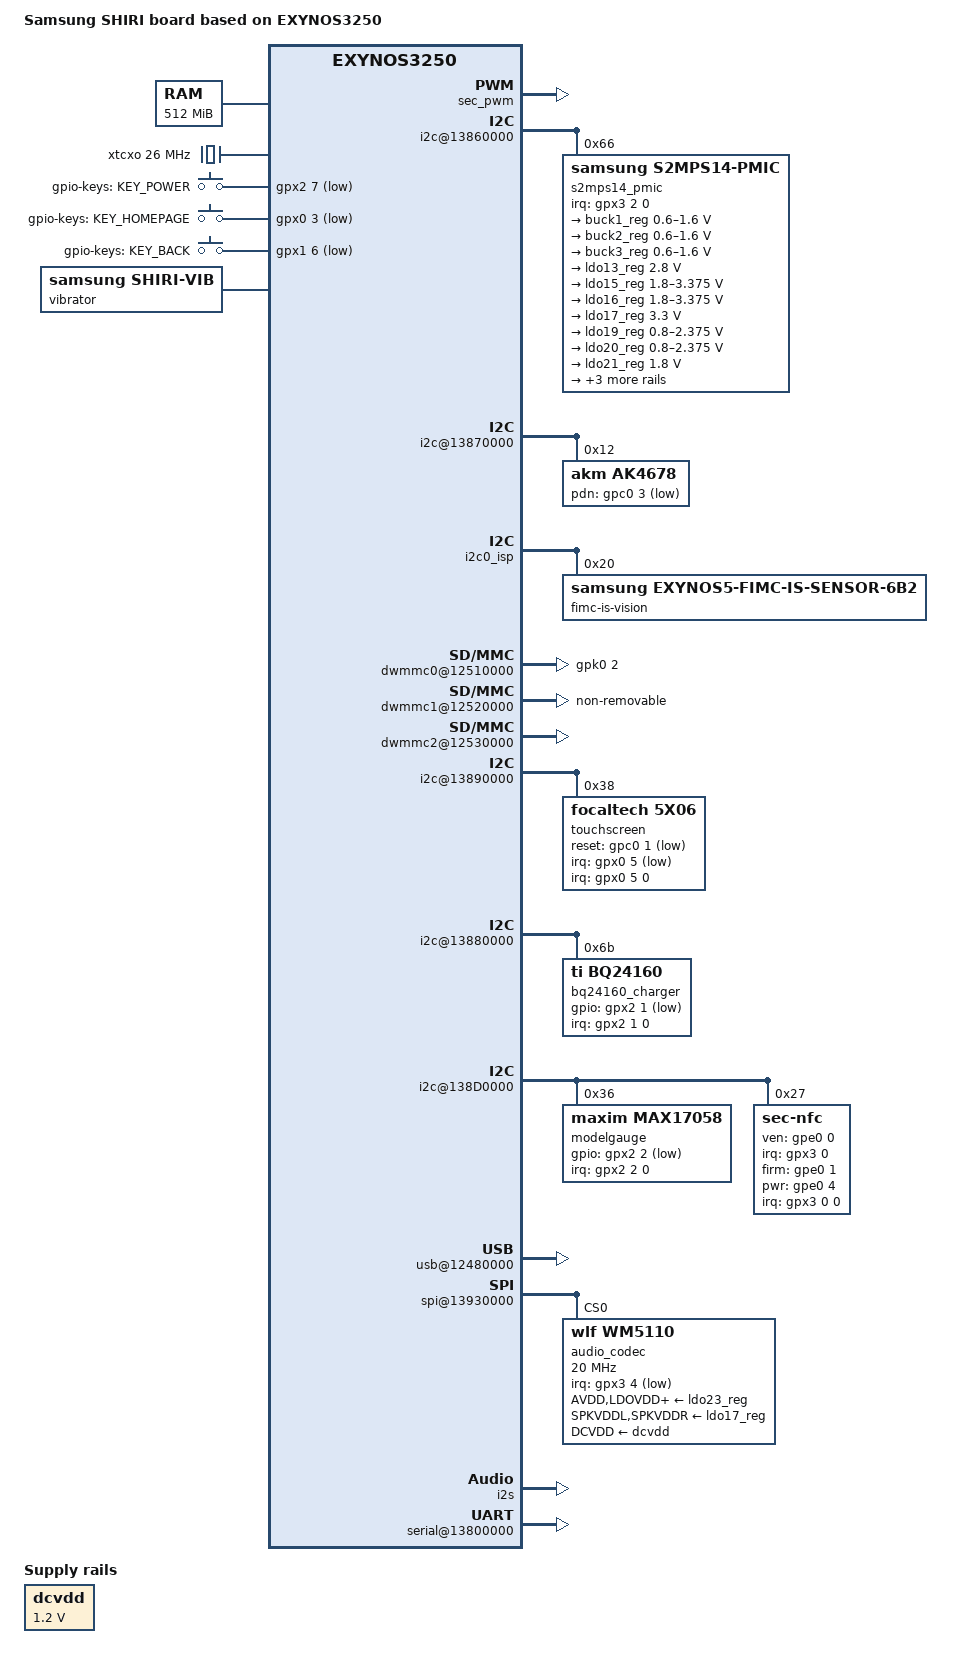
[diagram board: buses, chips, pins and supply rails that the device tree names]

/*
 * SAMSUNG SHIRI board device tree source
 *
 * Copyright (c) 2014 Samsung Electronics Co., Ltd.
 *		http://www.samsung.com
 *
 * This program is free software; you can redistribute it and/or modify
 * it under the terms of the GNU General Public License version 2 as
 * published by the Free Software Foundation.
*/

/dts-v1/;
#include "exynos3250.dtsi"
#include "exynos3250-shiri-pd_gpio.dtsi"

/ {
	model = "Samsung SHIRI board based on EXYNOS3250";
	compatible = "samsung,SHIRI", "samsung,exynos3250";

	chosen {
		//-------------------
		// for shiri
		//-------------------
//		bootargs = "console=ttySAC2,115200 vmalloc=256M ess_setup=0x46000000";
		//-------------------
		// for ramdisk
		//-------------------
//		bootargs = "root=/dev/ram0 rw rootfstype=ext2 initrd=0x41000000,32M console=ttySAC2,115200 vmalloc=256M ess_setup=0x46000000";
		//-------------------
		// for rootfs (sd)
		//-------------------
		bootargs = "root=/dev/mmcblk1p1 rootdelay=2 console=ttySAC2,115200 vmalloc=256M ess_setup=0x46000000";
		//-------------------
		// for rootfs (eMMC)
		//-------------------
//		bootargs = "root=/dev/mmcblk0p1 rootdelay=2 console=ttySAC2,115200 vmalloc=256M ess_setup=0x46000000";
	};

	memory {
		reg = <0x40000000 0x20000000>;
	};

	fixed-rate-clocks {
		#address-cells = <1>;
		#size-cells = <0>;

		xrtcxti: clock@0 {
			compatible = "fixed-clock";
			reg = <0>;
			clock-frequency = <32768>;
			#clock-cells = <0>;
			clock-output-names = "xrtcxti";
		};

		xusbxti: clock@1 {
			compatible = "fixed-clock";
			clock-frequency = <24000000>;
			reg = <1>;
			#clock-cells = <0>;
			clock-output-names = "xusbxti";
		};

		xxti: clock@2 {
			compatible = "fixed-clock";
			reg = <2>;
			clock-frequency = <0>;
			#clock-cells = <0>;
			clock-output-names = "xxti";
			};

		xtcxo: clock@3 {
			compatible = "fixed-clock";
			reg = <3>;
			clock-frequency = <26000000>;
			#clock-cells = <0>;
			clock-output-names = "xtcxo";
		};
		audiocdclk: clock@4 {
			compatible = "fixed-clock";
			reg = <4>;
			clock-frequency = <0>;
			#clock-cells = <0>;
			clock-output-names = "audiocdclk";
		};
	};

	gpio_keys {
		compatible = "gpio-keys";
		#address-cells = <1>;
		#size-cells = <0>;
		pinctrl-names = "default";
		pinctrl-0 = <&eint23 &eint3 &eint14>;

		button@1 {
			label = "gpio-keys: KEY_POWER";
			interrupt-parent = <&gpx2>;
			interrupts = <7 0 0>;
			linux,code = <116>;
			gpios = <&gpx2 7 0x1>;
			gpio-key,wakeup = <1>;
			debounce-interval = <0>;
		};

		button@2 {
			label = "gpio-keys: KEY_HOMEPAGE";
			interrupt-parent = <&gpx0>;
			interrupts = <3 0 0>;
			linux,code = <172>;
			gpios = <&gpx0 3 0x1>;
			debounce-interval = <0>;
		};

		button@3 {
			label = "gpio-keys: KEY_BACK";
			interrupt-parent = <&gpx1>;
			interrupts = <6 0 0>;
			linux,code = <158>;
			gpios = <&gpx1 6 0x1>;
			debounce-interval = <0>;
		};
	};

	sec_pwm: pwm@139D0000 {
		status = "okay";
	};

	vibrator {
		compatible = "samsung,shiri-vib";
		pinctrl-names = "default";
		pinctrl-0 = <&pwm1_out>;
		samsung,pwm-ch = <1>;
		samsung,max-timeout = <100000>;
	};

	i2c@13860000 {
		status = "okay";
		samsung,i2c-sda-delay = <100>;
		samsung,i2c-max-bus-freq = <400000>;
		#size-cells = <0>;

		s2mps14_pmic@66 {
			compatible = "samsung,s2mps14-pmic";
			reg = <0x66>;
			interrupts = <2 0 0>;
			/* old; interrupt-parent = <&gpx0>; */
			interrupt-parent = <&gpx3>; // nermy.artik
			pinctrl-names = "default";
			pinctrl-0 = <&pmic_irq &pm_wrsti>;
			/* RTC: wtsr/smpl */
                        wtsr_en = <1>; /* enable */
                        smpl_en = <1>; /* enable */
                        wtsr_timer_val = <3>;   /* 1000ms */
                        smpl_timer_val = <4>;   /* 500ms */
                        check_jigon = <0>; /* do not check jigon */
                        /* RTC: If it's first boot, reset rtc to 1/1/2014 12:00:00(Wed) */
                        init_time,sec = <0>;
                        init_time,min = <0>;
                        init_time,hour = <12>;
                        init_time,mday = <1>;
                        init_time,mon = <0>;
                        init_time,year = <114>;
                        init_time,wday = <3>;

			regulators {
				buck1_reg: BUCK1 {
					regulator-name = "vdd_mif";
					regulator-min-microvolt = <600000>;
					regulator-max-microvolt = <1600000>;
					regulator-always-on;
					regulator-boot-on;
					regulator-ramp-delay = <12000>;
					regulator-initial-mode = <1>;
				};

				buck2_reg: BUCK2 {
					regulator-name = "vdd_arm";
					regulator-min-microvolt = <600000>;
					regulator-max-microvolt = <1600000>;
					regulator-always-on;
					regulator-boot-on;
					regulator-ramp-delay = <12000>;
					regulator-initial-mode = <1>;
				};

				buck3_reg: BUCK3 {
					regulator-name = "vdd_int";
					regulator-min-microvolt = <600000>;
					regulator-max-microvolt = <1600000>;
					regulator-always-on;
					regulator-boot-on;
					regulator-ramp-delay = <12000>;
					regulator-initial-mode = <1>;
				};

				ldo13_reg: LDO13 {
					regulator-name = "vt_cam_sensor_a2v8";
					regulator-min-microvolt = <2800000>;
					regulator-max-microvolt = <2800000>;
					regulator-initial-mode = <1>;
				};

				ldo15_reg: LDO15 {
					regulator-name = "vdd_tsp_3.3";
					regulator-min-microvolt = <1800000>;
					regulator-max-microvolt = <3375000>;
					regulator-initial-mode = <1>;
				};

				ldo16_reg: LDO16 {
					regulator-name = "vdd_lcd_3.3";
					regulator-min-microvolt = <1800000>;
					regulator-max-microvolt = <3375000>;
					regulator-initial-mode = <1>;
				};

				ldo17_reg: LDO17 {
					regulator-name = "vcc_peri_3.3";
					regulator-min-microvolt = <3300000>;
					regulator-max-microvolt = <3300000>;
				};

				ldo19_reg: LDO19 {
					regulator-name = "vdd_tsp_1.8";
					regulator-min-microvolt = <800000>;
					regulator-max-microvolt = <2375000>;
					regulator-initial-mode = <3>;
					regulator-always-on;
					regulator-boot-on;
				};

				ldo20_reg: LDO20 {
					regulator-name = "vcc_aud_1.8";
					regulator-min-microvolt = <800000>;
					regulator-max-microvolt = <2375000>;
					regulator-initial-mode = <1>;
					regulator-always-on;
					regulator-boot-on;
				};

				ldo21_reg: LDO21 {
					regulator-name = "vt_cam_core_1v8";
					regulator-min-microvolt = <1800000>;
					regulator-max-microvolt = <1800000>;
					regulator-initial-mode = <1>;
				};

				ldo6_reg: LDO6 {
                                        regulator-name = "VDD_USB_AP_1.0V";
                                        regulator-min-microvolt = <1000000>;
                                        regulator-max-microvolt = <1000000>;
                                        regulator-always-on;
					regulator-initial-mode = <1>;
                                };

				ldo8_reg: LDO8 {
                                        regulator-name = "VDD_UOTG_AP_3.3V";
                                        regulator-min-microvolt = <3300000>;
                                        regulator-max-microvolt = <3300000>;
                                };

				ldo23_reg: LDO23 {
					regulator-name = "vcc_peri_1.8";
					regulator-min-microvolt = <1800000>;
					regulator-max-microvolt = <1800000>;
					regulator-always-on;
				};

				ldo2_reg: LDO2 {
					regulator-always-on;
					regulator-initial-mode = <1>;
                                };

				ldo4_reg: LDO4 {
					regulator-always-on;
                                        regulator-initial-mode = <1>;
                                };

				ldo5_reg: LDO5 {
					regulator-always-on;
                                        regulator-initial-mode = <1>;
                                };

				ldo7_reg: LDO7 {
					regulator-always-on;
                                        regulator-initial-mode = <1>;
                                };
			};
		};
	};

	i2c@13870000 {
		status = "okay";
		samsung,i2c-sda-delay = <100>;
		samsung,i2c-max-bus-freq = <400000>;
		#size-cells = <0>;

		ak4678@12{
			compatible = "akm,ak4678";
			reg = <0x12>;
			ak4678,pdn-gpio = <&gpc0 3 0x1>;
		};
	};

	dcvdd: fixed-regulator@0 {
		compatible = "regulator-fixed";
		regulator-name = "dcvdd-supply";
		regulator-min-microvolt = <1200000>;
		regulator-max-microvolt = <1200000>;
	};

	i2c0_isp: i2c@12130000 {
		status = "okay";
		samsung,i2c-sda-delay = <100>;
		samsung,i2c-max-bus-freq = <400000>;

		fimc-is-vision@20 {
			compatible = "samsung,exynos5-fimc-is-sensor-6b2";
			reg = <0x20>;
		};
	};

	dwmmc0@12510000 {
		status = "okay";
		num-slots = <1>;
		broken-cd;
		bypass-smu;
		fixed_volt;
		only_once_tune;
		extra_tuning;
		supports-highspeed;
		enable-cache-control;
		sw_data_timeout;
		fifo-depth = <0x80>;
		card-detect-delay = <200>;
		samsung,dw-mshc-ciu-div = <3>;
		samsung,dw-mshc-sdr-timing = <3 0 2 1>;
		samsung,dw-mshc-ddr-timing = <3 0 4 2>;
		samsung,dw-mshc-hs200-timing = <3 0 2 0>;
		samsung,dw-mshc-ddr200-timing = <1 1 2 0>;
		num-ref-clks = <8>;
		gpios = <&gpk0 2 0x1>;
		ciu_clkin = <25 50 50 100 200 100 200 200>;
		pinctrl-names = "default";
		pinctrl-0 = <&sd0_clk &sd0_cmd &sd0_bus1 &sd0_bus4 &sd0_bus8>;

		slot@0 {
			reg = <0>;
			bus-width = <8>;
		};
	};

	dwmmc1@12520000 {
		status = "okay";
		num-slots = <1>;
		bypass-smu;
		only_once_tune;
		supports-highspeed;
		supports-sdr104-mode;
		sw_data_timeout;
		use-broken-voltage;
		pm-ignore-notify;
		fixed_volt;
		/* cd-type = <2>;  mediatek driver*/
		cd-type = <1>; // nermy.artik
		fifo-depth = <0x80>;
		card-detect-delay = <200>;
		non-removable;
		enable-cclk-on-suspend;
		keep-power-in-suspend;
		enable-sdio-wakeup;
		samsung,dw-mshc-ciu-div = <3>;
		samsung,dw-mshc-sdr-timing = <3 0 2 1>;
		samsung,dw-mshc-ddr-timing = <3 0 4 2>;
		clk_str_num = <4>;
		num-ref-clks = <8>;
		ciu_clkin = <25 50 50 100 200 100 200 200>;
		pinctrl-names = "default";
		pinctrl-0 = <&sd1_clk &sd1_cmd &sd1_bus1 &sd1_bus4>;

		slot@0 {
			reg = <0>;
			bus-width = <4>;
			disable-wp;
		};

	};

	dwmmc2@12530000 {
		status = "okay";
		num-slots = <1>;
		bypass-smu;
		supports-highspeed;
		fixed_volt;
		cd-type = <1>;
		fifo-depth = <0x80>;
		card-detect-delay = <200>;
		samsung,dw-mshc-ciu-div = <3>;
		samsung,dw-mshc-sdr-timing = <3 0 2 1>;
		samsung,dw-mshc-ddr-timing = <3 0 4 2>;
		num-ref-clks = <8>;
		ciu_clkin = <25 50 50 100 200 100 200 200>;
		pinctrl-names = "default";
		pinctrl-0 = <&sd2_clk &sd2_cmd &sd2_cd &sd2_bus1 &sd2_bus4>;

		slot@0 {
			reg = <0>;
			bus-width = <4>;
			disable-wp;
		};
	};

        ion {
                compatible = "samsung,exynos5430-ion";

		contig-names = "mfc_sh",
				"video",
				"mfc_fw",
				"mfc_nfw";

		contig = <2 0x100000 0x0>,
			<11 0xA00000 0x0>,
			<8 0x100000 0x0>,
			<12 0x100000 0x0>;

                ion_noncontig_heap {
                        id-type = <0 0>;
                };

		exynos_contig_heap {
			id-type = <4 6>;
		};

        };

	i2c@13890000 {
		samsung,i2c-sda-delay = <100>;
		samsung,i2c-max-bus-freq = <400000>;
		#size-cells = <0>;
		status = "okay";

		touchscreen@38 {
			compatible = "focaltech,5x06";
			reg = <0x38>;
			interrupt-parent = <&gpx0>;
			interrupts = <5 0 0>;
			pinctrl-names = "default";
			pinctrl-0 = <&touch_irq>;
			focaltech,name = "ft5336";
			focaltech,family-id = <0x14>;
			focaltech,reset-gpio = <&gpc0 1 0x1>;
			focaltech,irq-gpio = <&gpx0 5 0x1>;
			focaltech,display-coords = <0 0 240 240>;
			focaltech,panel-coords = <0 0 240 240>;
			focaltech,button-map= <139 102 158>;
			focaltech,no-force-update;
			focaltech,i2c-pull-up;
			focaltech,group-id = <1>;
			focaltech,hard-reset-delay-ms = <20>;
			focaltech,soft-reset-delay-ms = <200>;
			focaltech,num-max-touches = <5>;
			#focaltech,fw-name = "ft_8926_qrd_fw.bin";
			focaltech,fw-delay-aa-ms = <30>;
			focaltech,fw-delay-55-ms = <30>;
			#focaltech,fw-upgrade-id1 = <0x79>;
			#focaltech,fw-upgrade-id2 = <0x08>;
			focaltech,fw-delay-readid-ms = <10>;
			focaltech,fw-delay-era-flsh-ms = <2000>;
			focaltech,fw-auto-cal;
			focaltech,ignore-id-check;
		};
	};

	i2c@13880000 {
		samsung,i2c-sda-delay = <100>;
		samsung,i2c-max-bus-freq = <400000>;
		#address-cells = <1>;
		#size-cells = <0>;
		status = "okay";

		bq24160_charger@6b {
			compatible = "ti,bq24160";
			reg = <0x6b>;
			gpios = <&gpx2 1 1>;
			interrupts = <1 0 0>;
			interrupt-parent = <&gpx2>;
			pinctrl-names = "default";
			pinctrl-0 = <&chg_irq>;
			dev_name = "bq24160";
			support_boot_charging = <1>;
		};
	};

	i2c@138D0000 {
		samsung,i2c-sda-delay = <25>;
		samsung,i2c-max-bus-freq = <400000>;
		#address-cells = <1>;
		#size-cells = <0>;
		status = "okay";

		modelgauge@36 { 
			compatible = "maxim,max17058"; 

			reg = <0x36>; 
			gpios = <&gpx2 2 1>;
			interrupt-parent = <&gpx2>;
			interrupts = <2 0 0>;
			pinctrl-names = "default";
			pinctrl-0 = <&gauge_irq>;

			maxim,empty_adjustment = /bits/ 8 <0>;
			maxim,full_adjustment = /bits/ 8 <100>;
			maxim,rcomp0 = /bits/ 8 <175>; 
			maxim,temp-co-up = <(-1100)>; 
			maxim,temp-co-down = <(-4000)>; 
			maxim,ocvtest = /bits/ 16 <56144>; 
			maxim,soc-check-a = /bits/ 8 <241>; 
			maxim,soc-check-b = /bits/ 8 <243>; 
			maxim,bits = /bits/ 8 <19>; 

			maxim,model-data = /bits/ 8 < 
				0x9B 0x70 0xAB 0x30 0xB5 0xA0 0xB9 0xD0 
				0xBB 0xA0 0xBC 0x00 0xBC 0xB0 0xBD 0x00 
				0xBD 0x60 0xBE 0x40 0xBF 0x40 0xC1 0xF0 
				0xC5 0x60 0xC8 0xA0 0xCD 0x00 0xD1 0x50 
				0x00 0xE0 0x01 0x80 0x18 0x60 0x1C 0x20 
				0x54 0x00 0x6A 0xC0 0x79 0x20 0x65 0xC0 
				0x0B 0xE0 0x2A 0xC0 0x1D 0x00 0x17 0xE0 
				0x15 0xE0 0x11 0xE0 0x11 0x00 0x11 0x00	>; 
		};


		sec-nfc@27 {
			compatible = "sec-nfc";
			reg = <0x27>;
			interrupts = <0 0 0>;
			interrupt-parent = <&gpx3>;
			sec-nfc,ven-gpio = <&gpe0 0 0>;
			sec-nfc,irq-gpio = <&gpx3 0 0>;
			sec-nfc,firm-gpio = <&gpe0 1 0>;
			sec-nfc,pwr-gpio = <&gpe0 4 0>;
		};
	};


	sysreg_localout: sysreg_localout@10010000 {
		compatible = "samsung,exynos5-sysreg_localout";
		reg = <0x10010000 0x2000>;
	};

	mdev_0: mdev_output {
		compatible = "samsung,exynos5-mdev";
	};

	 fimd_fb: fimd_fb {
                /* gpx0[6]- TE external interrupt pin */
                gpios = <&gpx0 4 0xf>;
		lcd-3.0-supply = <&ldo16_reg>;
		lcd-1.8-supply = <&ldo19_reg>;
                fimd: fimd_ctrl {
                        samsung,left_margin = <1>;
                        samsung,right_margin = <1>;
                        samsung,upper_margin = <1>;
                        samsung,lower_margin = <1>;
                        samsung,hsync_len = <1>;
                        samsung,vsync_len = <1>;
                        samsung,xres = <240>;
                        samsung,yres = <240>;
                        samsung,virtual_x = <240>;
                        samsung,virtual_y = <240>;

                        samsung,width = <24>;
                        samsung,height = <24>;
                        samsung,max_bpp = <32>;
                        samsung,default_bpp = <24>;

                        fb_driver_data {
                                fb_win_variant_0 {
                                        has_osd_c = <1>;
                                        has_osd_d = <0>;
                                        has_osd_alpha = <0>;
                                        osd_size_off = <0x08>;
                                        palette_size = <256>;
                                        VALID_BPP_1248 = <1>;
                                        VALID_BPP_13 = <1>;
                                        VALID_BPP_15 = <1>;
                                        VALID_BPP_16 = <1>;
                                        VALID_BPP_18 = <1>;
                                        VALID_BPP_19 = <1>;
                                        VALID_BPP_24 = <1>;
                                        VALID_BPP_25 = <1>;
                                        VALID_BPP_32 = <1>;
                                };
                                fb_win_variant_1 {
                                        has_osd_c = <1>;
                                        has_osd_d = <1>;
                                        has_osd_alpha = <1>;
                                        osd_size_off = <0x0c>;
                                        palette_size = <256>;
                                        VALID_BPP_1248 = <1>;
                                        VALID_BPP_13 = <1>;
                                        VALID_BPP_15 = <1>;
                                        VALID_BPP_16 = <1>;
                                        VALID_BPP_18 = <1>;
                                        VALID_BPP_19 = <1>;
                                        VALID_BPP_24 = <1>;
                                        VALID_BPP_25 = <1>;
                                        VALID_BPP_32 = <1>;
                                };
                                fb_win_variant_2 {
                                        has_osd_c = <1>;
                                        has_osd_d = <1>;
                                        has_osd_alpha = <1>;
                                        osd_size_off = <0x0c>;
                                        palette_size = <256>;
                                        VALID_BPP_1248 = <1>;
                                        VALID_BPP_13 = <1>;
                                        VALID_BPP_15 = <1>;
                                        VALID_BPP_16 = <1>;
                                        VALID_BPP_18 = <1>;
                                        VALID_BPP_19 = <1>;
                                        VALID_BPP_24 = <1>;
                                        VALID_BPP_25 = <1>;
                                        VALID_BPP_32 = <1>;
                                };
                                fb_win_variant_3 {
                                        has_osd_c = <1>;
                                        has_osd_d = <0>;
                                        has_osd_alpha = <1>;
                                        osd_size_off = <0x0>;
                                        palette_size = <256>;
                                        VALID_BPP_1248 = <1>;
                                        VALID_BPP_13 = <1>;
                                        VALID_BPP_15 = <1>;
                                        VALID_BPP_16 = <1>;
                                        VALID_BPP_18 = <1>;
                                        VALID_BPP_19 = <1>;
                                        VALID_BPP_24 = <1>;
                                        VALID_BPP_25 = <1>;
                                        VALID_BPP_32 = <1>;
                                };
                                fb_win_variant_4 {
                                        has_osd_c = <1>;
                                        has_osd_d = <0>;
                                        has_osd_alpha = <1>;
                                        osd_size_off = <0x0>;
                                        palette_size = <256>;
                                        VALID_BPP_1248 = <1>;
                                        VALID_BPP_13 = <1>;
                                        VALID_BPP_15 = <1>;
                                        VALID_BPP_16 = <1>;
                                        VALID_BPP_18 = <1>;
                                        VALID_BPP_19 = <1>;
                                        VALID_BPP_24 = <1>;
                                        VALID_BPP_25 = <1>;
                                        VALID_BPP_32 = <1>;
                                };
                        };
                };

                mipi_dsi: mipi_dsi {
                        /* gpm0[4]-Reset, gpd0[0]-LCD_BL_EN */
                        gpios = <&gpm0 4 0x1>, <&gpd0 0 0x1>;
                        interrupt-parent = <&gic>;
                        interrupts = <0 83 0>;

                        /* Interface definition: 0 - DSIM_COMMAND,
                                                 1 - DSIM_VIDEO */
                        e_interface = <0>;

                        /* Pixel format : 0 - DSIM_CMD_3BPP,
                                          1 - DSIM_CMD_8BPP,
                                          2 - DSIM_CMD_12BPP,
                                          3 - DSIM_CMD_16BPP,
                                          4 - DSIM_VID_16BPP_565,
                                          5 - DSIM_VID_18BPP_666PACKED,
                                          6 - DSIM_18BPP_666LOOSELYPACKED,
                                          7 - DSIM_24BPP_888 */
                        e_pixel_format = <7>;

                        /* main frame fifo auto flush at VSYNC pulse */
                        auto_flush = <0>;
                        eot_disable = <0>;
                        auto_vertical_cnt = <0>;
                        hse = <0>;
                        hfp = <0>;
                        hbp = <0>;
                        hsa = <0>;

                        /* num of data lane : 0 - DSIM_DATA_LANE_1,
                                              1 - DSIM_DATA_LANE_2,
                                              2 - DSIM_DATA_LANE_3,
                                              3 - DSIM_DATA_LANE_4 */
                        e_no_data_lane = <0>;

                        /* byte clock divider : 0 - DSIM_PLL_OUT_DIV8,
                                                1 - DSIM_EXT_CLK_DIV8,
                                                2 - DSIM_EXT_CLK_BYPASS */
                        e_byte_clk = <0>;

                        /* Burst mode : 0 - DSIM_NON_BURST_SYNC_EVENT,
                                        2 - DSIM_NON_BURST_SYNC_PULSE,
                                        1 - DSIM_BURST
                                        4 - DSIM_NON_VIDEO_MODE */
                        e_burst_mode = <1>;

                        /* PMS
                           - 1. LCD_S6E8AA0 : p - 4, m - 80, s - 2
                           - 2. LCD_S6E3FA0(COMMAND): p - 2, m - 46, s - 1
                           - 3. LCD_S6E3FA0(VIDEO): p - 4, m - 75, s - 1
                           - 4. LCD_S6E3HA0(COMMAND): p - 2, m - 46, s - 1
                           - 5. LCD_S6E63J0X03(CMD):  p - 3, m - 125, s -1 */
                        p = <3>;
                        m = <110>;
                        s = <3>;

                        /* D-PHY PLL stable time spec :min = 200usec ~ max 400usec */
                        pll_stable_time = <0x400>;
                        /* escape clk : 7MHz */
                        esc_clk = <7000000>;
                        /* stop state holding counter after bta change count 0 ~ 0xfff */
                        stop_holding_cnt = <0x0f>;
                        /* bta timeout 0 ~ 0xff */
                        bta_timeout = <0xff>;
                        /* lp rx timeout 0 ~ 0xffff */
                        rx_timeout = <0xffff>;
                };
        };

	fimc_is@14000000 {
		fimc_is_dvfs {
			default_int = <134000>; /* L1 */
			default_cam = <320000>; /* L0 */
			default_mif = <400000>; /* L0 */
			default_i2c = <0>;

			rear_preview_int = <134000>; /* L1 */
			rear_preview_cam = <320000>; /* L0 */
			rear_preview_mif = <400000>; /* L0 */
			rear_preview_i2c = <0>;

			rear_capture_int = <134000>; /* L1 */
			rear_capture_cam = <320000>; /* L0 */
			rear_capture_mif = <400000>; /* L0 */
			rear_capture_i2c = <0>;

			rear_camcording_int = <134000>; /* L1 */
			rear_camcording_cam = <320000>; /* L0 */
			rear_camcording_mif = <400000>; /* L0 */
			rear_camcording_i2c = <0>;

			max_int = <134000>; /* L1 */
			max_cam = <320000>; /* L0 */
			max_mif = <400000>; /* L0 */
			max_i2c = <0>;
		};
	};

	fimc_is_sensor0: fimc_is_sensor@120A0000 {
		scenario = <0>;
		gpio_reset = <&gpm3 2 0x1>;
		cam_core-supply = <&ldo21_reg>;
		cam_sensor-supply = <&ldo13_reg>;
		id = <0>;
		mclk_ch = <1>;
		csi_ch = <0>;
		flite_ch = <0>;
		i2c_ch = <0>;
		i2c_addr = <0x20>;
		is_bns = <0>;
		status = "okay";
	};

	usb@12480000 {
		vusb_d-supply = <&ldo6_reg>;
		vusb_a-supply = <&ldo8_reg>;
		status = "okay";
		samsung,vbus-gpio = <&gpx1 2 0>;
		pinctrl-names = "default";
		pinctrl-0 = <&usbdetect_irq>;
	};

	spi@13930000 {
		status = "okay";
		#address-cells = <1>;
		#size-cells = <0>;

		audio_codec: WM5110@0 {
			compatible = "wlf,wm5110";
			spi-max-frequency = <20000000>;
			reg = <0x0>;

			wlf,reset = <&gpm0 4 1>;
			wlf,ldoena = <&gpx3 3 1>;
			wlf,irq-gpio = <&gpx3 4 0xF>;

			pinctrl-names = "default";
			pinctrl-0 = <&codec_reset>;

			AVDD-supply = <&ldo23_reg>;
			LDOVDD-supply = <&ldo23_reg>;
			CPVDD-supply = <&ldo23_reg>;
			MICVDD-supply = <&ldo23_reg>;
			DBVDD1-supply = <&ldo23_reg>;
			DBVDD2-supply = <&ldo23_reg>;
			DBVDD3-supply = <&ldo23_reg>;
			SPKVDDL-supply = <&ldo17_reg>;
			SPKVDDR-supply = <&ldo17_reg>;
			DCVDD-supply = <&dcvdd>;

			wlf,gpio-defaults = <
				0xA101  /* AIF1TXLRCLK */
				0xA101
				0xA101
				0xA101
				0xA101
			>;

			controller-data {
				cs-gpio = <&gpb 5 1>;
				samsung,spi-feedback-delay = <2>;
			};
		};
	};

	gaudio_codec: ak4678 {
		compatible = "akm,ak4678";
		status = "okay";
	};

	i2s: i2s@13970000 {
		status = "okay";
	};

	sound {
		compatible = "samsung,shiri-ak4678";
		samsung,audio-cpu = <&i2s>;
		samsung,audio-codec = <&gaudio_codec>;
		clocks = <&clock CLK_MOUT_EPLL>,
			<&clock CLK_FOUT_EPLL>,
			<&clock CLK_MOUT_AUDIO>,
			<&clock CLK_DIV_AUDIO>,
			<&clock CLK_DIV_I2S>,
			<&clock CLK_SCLK_I2S>;
		clock-names = "mout_epll", "fout_epll",
				"mout_audio", "dout_audio",
				"dout_i2s", "sclk_i2s";
		status = "okay";
	};

	serial@13800000 {
		status = "okay";
	};

	mtk_wmt {
		compatible = "mtk,mt6620";

		mtk_wmt,pmu = <&gpe1 6 0x1>;
		mtk_wmt,eedi = <&gpe1 5 0x1>;
		mtk_wmt,rst = <&gpe1 4 0x1>;
		mtk_wmt,bgf_int = <&gpx3 3 0x1>;
		mtk_wmt,wifi_int = <&gpx3 4 0x1>;
	};

};
